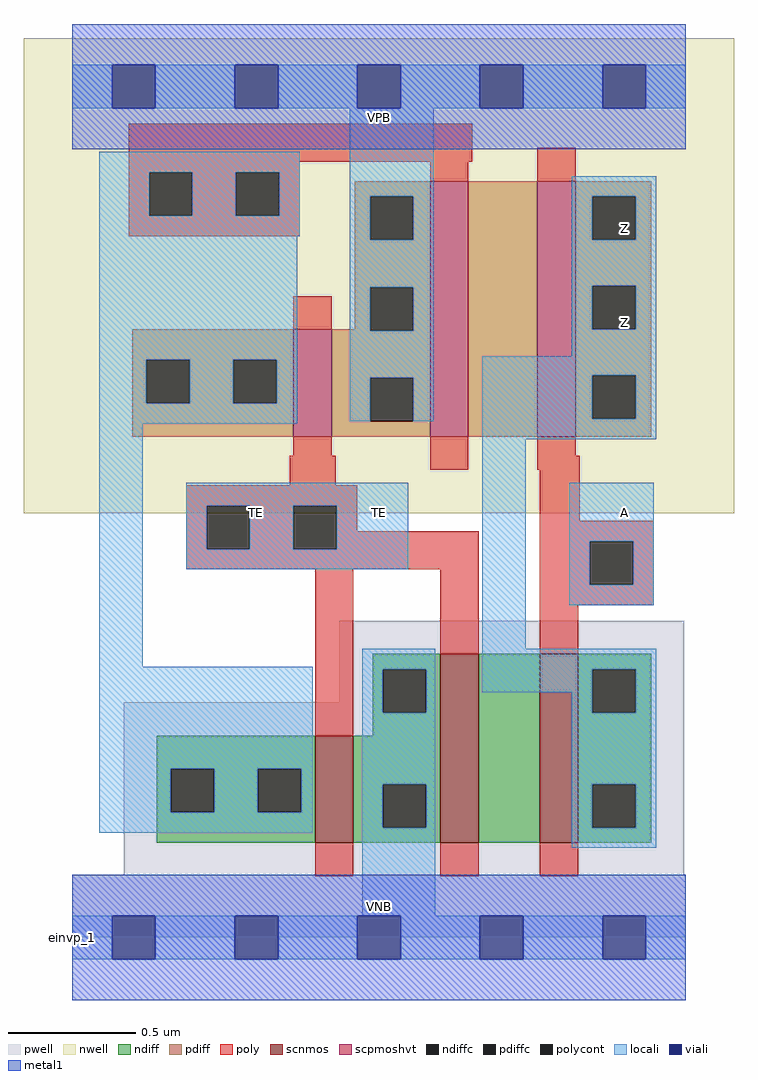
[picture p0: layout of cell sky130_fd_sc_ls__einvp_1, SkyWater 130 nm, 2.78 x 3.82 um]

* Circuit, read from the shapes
.subckt sky130_fd_sc_ls__einvp_1 A TE VGND VNB VPB VPWR Z
XM1 VGND TE n1 VNB sky130_fd_pr__nfet_01v8 w=0.42 l=0.15
XM2 n2 TE VGND VNB sky130_fd_pr__nfet_01v8 w=0.74 l=0.15
XM3 Z A n2 VNB sky130_fd_pr__nfet_01v8 w=0.74 l=0.15
XM4 VPWR TE n1 VPB sky130_fd_pr__pfet_01v8_hvt w=0.42 l=0.15
XM5 n3 n1 VPWR VPB sky130_fd_pr__pfet_01v8_hvt w=1 l=0.15
XM6 Z A n3 VPB sky130_fd_pr__pfet_01v8_hvt w=1 l=0.15
.ends

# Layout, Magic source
magic
tech sky130A
magscale 1 2
<< nwell >>
rect -38 332 518 704
<< pwell >>
rect 209 184 479 248
rect 40 49 479 184
rect 0 0 480 49
<< scnmos >>
rect 190 74 220 158
rect 288 74 318 222
rect 366 74 396 222
<< scpmoshvt >>
rect 173 392 203 476
rect 280 392 310 592
rect 364 392 394 592
<< ndiff >>
rect 235 210 288 222
rect 235 176 243 210
rect 277 176 288 210
rect 235 158 288 176
rect 66 132 190 158
rect 66 98 77 132
rect 111 98 145 132
rect 179 98 190 132
rect 66 74 190 98
rect 220 120 288 158
rect 220 86 243 120
rect 277 86 288 120
rect 220 74 288 86
rect 318 74 366 222
rect 396 210 453 222
rect 396 176 407 210
rect 441 176 453 210
rect 396 120 453 176
rect 396 86 407 120
rect 441 86 453 120
rect 396 74 453 86
<< pdiff >>
rect 221 580 280 592
rect 221 546 233 580
rect 267 546 280 580
rect 221 509 280 546
rect 221 476 233 509
rect 47 452 173 476
rect 47 418 58 452
rect 92 418 126 452
rect 160 418 173 452
rect 47 392 173 418
rect 203 475 233 476
rect 267 475 280 509
rect 203 438 280 475
rect 203 404 233 438
rect 267 404 280 438
rect 203 392 280 404
rect 310 392 364 592
rect 394 580 453 592
rect 394 546 407 580
rect 441 546 453 580
rect 394 510 453 546
rect 394 476 407 510
rect 441 476 453 510
rect 394 440 453 476
rect 394 406 407 440
rect 441 406 453 440
rect 394 392 453 406
<< ndiffc >>
rect 243 176 277 210
rect 77 98 111 132
rect 145 98 179 132
rect 243 86 277 120
rect 407 176 441 210
rect 407 86 441 120
<< pdiffc >>
rect 233 546 267 580
rect 58 418 92 452
rect 126 418 160 452
rect 233 475 267 509
rect 233 404 267 438
rect 407 546 441 580
rect 407 476 441 510
rect 407 406 441 440
<< poly >>
rect 44 607 313 637
rect 44 599 178 607
rect 44 565 60 599
rect 94 565 128 599
rect 162 565 178 599
rect 280 592 310 607
rect 364 592 394 618
rect 44 549 178 565
rect 173 476 203 502
rect 173 377 203 392
rect 170 354 206 377
rect 280 366 310 392
rect 364 377 394 392
rect 364 366 397 377
rect 89 338 223 354
rect 89 304 105 338
rect 139 304 173 338
rect 207 318 223 338
rect 366 326 397 366
rect 207 304 318 318
rect 89 288 318 304
rect 190 158 220 288
rect 288 222 318 288
rect 366 310 455 326
rect 366 276 405 310
rect 439 276 455 310
rect 366 260 455 276
rect 366 222 396 260
rect 190 48 220 74
rect 288 48 318 74
rect 366 48 396 74
<< polycont >>
rect 60 565 94 599
rect 128 565 162 599
rect 105 304 139 338
rect 173 304 207 338
rect 405 276 439 310
<< locali >>
rect 0 649 31 683
rect 65 649 127 683
rect 161 649 223 683
rect 257 649 319 683
rect 353 649 415 683
rect 449 649 480 683
rect 21 599 178 615
rect 21 565 60 599
rect 94 565 128 599
rect 162 565 178 599
rect 21 549 178 565
rect 217 580 283 649
rect 21 452 176 549
rect 21 418 58 452
rect 92 418 126 452
rect 160 418 176 452
rect 21 402 176 418
rect 217 546 233 580
rect 267 546 283 580
rect 217 509 283 546
rect 217 475 233 509
rect 267 475 283 509
rect 217 438 283 475
rect 391 580 457 596
rect 391 546 407 580
rect 441 546 457 580
rect 391 510 457 546
rect 391 476 407 510
rect 441 476 457 510
rect 391 455 457 476
rect 217 404 233 438
rect 267 404 283 438
rect 321 440 457 455
rect 321 406 407 440
rect 441 406 457 440
rect 21 212 55 402
rect 321 390 457 406
rect 89 338 263 356
rect 89 304 105 338
rect 139 304 173 338
rect 207 304 263 338
rect 89 288 263 304
rect 321 226 355 390
rect 389 310 455 356
rect 389 276 405 310
rect 439 276 455 310
rect 389 260 455 276
rect 21 132 188 212
rect 21 98 77 132
rect 111 98 145 132
rect 179 98 188 132
rect 21 82 188 98
rect 227 210 284 226
rect 227 176 243 210
rect 277 176 284 210
rect 321 210 457 226
rect 321 192 407 210
rect 227 120 284 176
rect 227 86 243 120
rect 277 86 284 120
rect 227 17 284 86
rect 391 176 407 192
rect 441 176 457 210
rect 391 120 457 176
rect 391 86 407 120
rect 441 86 457 120
rect 391 70 457 86
rect 0 -17 31 17
rect 65 -17 127 17
rect 161 -17 223 17
rect 257 -17 319 17
rect 353 -17 415 17
rect 449 -17 480 17
<< viali >>
rect 31 649 65 683
rect 127 649 161 683
rect 223 649 257 683
rect 319 649 353 683
rect 415 649 449 683
rect 31 -17 65 17
rect 127 -17 161 17
rect 223 -17 257 17
rect 319 -17 353 17
rect 415 -17 449 17
<< metal1 >>
rect 0 683 480 715
rect 0 649 31 683
rect 65 649 127 683
rect 161 649 223 683
rect 257 649 319 683
rect 353 649 415 683
rect 449 649 480 683
rect 0 617 480 649
rect 0 17 480 49
rect 0 -17 31 17
rect 65 -17 127 17
rect 161 -17 223 17
rect 257 -17 319 17
rect 353 -17 415 17
rect 449 -17 480 17
rect 0 -49 480 -17
<< labels >>
rlabel comment s 0 0 0 0 4 einvp_1
flabel pwell s 0 0 480 49 0 FreeSans 200 0 0 0 VNB
port 4 nsew ground bidirectional
flabel nwell s 0 617 480 666 0 FreeSans 200 0 0 0 VPB
port 5 nsew power bidirectional
flabel metal1 s 0 617 480 666 0 FreeSans 340 0 0 0 VPWR
port 6 nsew power bidirectional abutment
flabel metal1 s 0 0 480 49 0 FreeSans 340 0 0 0 VGND
port 3 nsew ground bidirectional abutment
flabel locali s 127 316 161 350 0 FreeSans 340 0 0 0 TE
port 2 nsew signal input
flabel locali s 223 316 257 350 0 FreeSans 340 0 0 0 TE
port 2 nsew signal input
flabel locali s 415 464 449 498 0 FreeSans 340 0 0 0 Z
port 7 nsew signal output
flabel locali s 415 538 449 572 0 FreeSans 340 0 0 0 Z
port 7 nsew signal output
flabel locali s 415 316 449 350 0 FreeSans 340 0 0 0 A
port 1 nsew signal input
<< properties >>
string LEFsite unit
string LEFclass CORE
string FIXED_BBOX 0 0 480 666
string GDS_FILE $PDKPATH/libs.ref/sky130_fd_sc_ls/gds/sky130_fd_sc_ls.gds
string LEFsymmetry X Y
string GDS_END 2434180
string GDS_START 2429184
<< end >>
